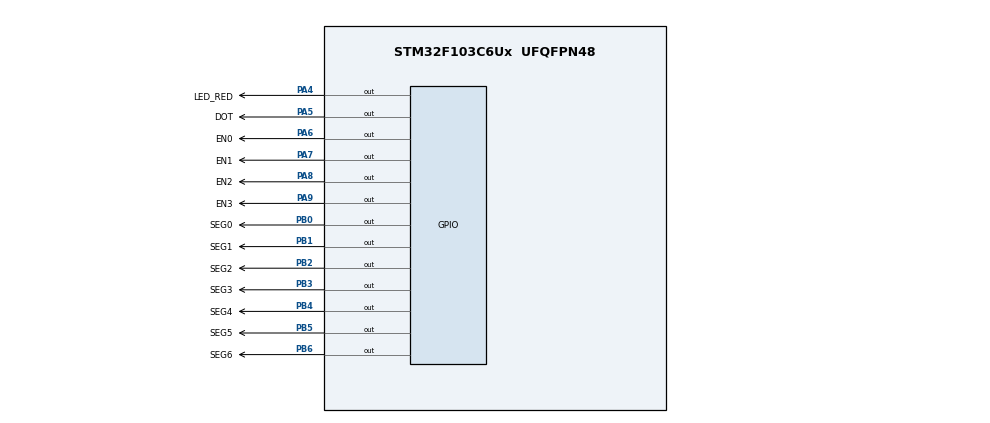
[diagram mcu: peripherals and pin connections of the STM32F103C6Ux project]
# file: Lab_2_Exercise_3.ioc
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Mcu.Family=STM32F1
Mcu.Name=STM32F103C6Ux
Mcu.Package=UFQFPN48
NVIC.PriorityGroup=NVIC_PRIORITYGROUP_4
NVIC.TIM2_IRQn=true\:0\:0\:false\:false\:true\:true\:true
PA4.GPIO_Label=LED_RED
PA4.Signal=GPIO_Output
PA5.GPIO_Label=DOT
PA5.Signal=GPIO_Output
PA6.GPIO_Label=EN0
PA6.Signal=GPIO_Output
PA7.GPIO_Label=EN1
PA7.Signal=GPIO_Output
PA8.GPIO_Label=EN2
PA8.Signal=GPIO_Output
PA9.GPIO_Label=EN3
PA9.Signal=GPIO_Output
PB0.GPIO_Label=SEG0
PB0.Signal=GPIO_Output
PB1.GPIO_Label=SEG1
PB1.Signal=GPIO_Output
PB2.GPIO_Label=SEG2
PB2.Signal=GPIO_Output
PB3.GPIO_Label=SEG3
PB3.Signal=GPIO_Output
PB4.GPIO_Label=SEG4
PB4.Signal=GPIO_Output
PB5.GPIO_Label=SEG5
PB5.Signal=GPIO_Output
PB6.GPIO_Label=SEG6
PB6.Signal=GPIO_Output
ProjectManager.HeapSize=0x200
ProjectManager.StackSize=0x400
ProjectManager.TargetToolchain=STM32CubeIDE
RCC.APB1Freq_Value=8000000
RCC.APB2Freq_Value=8000000
TIM2.Period=9
TIM2.Prescaler=7999
VP_SYS_VS_ND.Mode=No_Debug
VP_TIM2_VS_ClockSourceINT.Mode=Internal
board=custom

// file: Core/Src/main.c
/* USER CODE BEGIN Header */
/**
  ******************************************************************************
  * @file           : main.c
  * @brief          : Main program body
  ******************************************************************************
  * @attention
  *
  * <h2><center>&copy; Copyright (c) 2022 STMicroelectronics.
  * All rights reserved.</center></h2>
  *
  * This software component is licensed by ST under BSD 3-Clause license,
  * the "License"; You may not use this file except in compliance with the
  * License. You may obtain a copy of the License at:
  *                        opensource.org/licenses/BSD-3-Clause
  *
  ******************************************************************************
  */
/* USER CODE END Header */
#include "main.h"

TIM_HandleTypeDef htim2;

/* USER CODE BEGIN PV */
int counter1 = 1;
int counter2 = 1;
const int MAX_LED = 4;
int index_led = 0;
int led_buffer[4] = {1, 2, 3, 4};
/* USER CODE END PV */

void SystemClock_Config(void);
static void MX_GPIO_Init(void);
static void MX_TIM2_Init(void);

int main(void)
{

  /* MCU Configuration--------------------------------------------------------*/

  /* Reset of all peripherals, Initializes the Flash interface and the Systick. */
  HAL_Init();

  /* Configure the system clock */
  SystemClock_Config();

  /* Initialize all configured peripherals */
  MX_GPIO_Init();
  MX_TIM2_Init();
  /* USER CODE BEGIN 2 */
  HAL_TIM_Base_Start_IT(&htim2);
  /* USER CODE END 2 */

  /* Infinite loop */
  while (1)
  {

  }
}

void SystemClock_Config(void)
{
  RCC_OscInitTypeDef RCC_OscInitStruct = {0};
  RCC_ClkInitTypeDef RCC_ClkInitStruct = {0};

  /** Initializes the RCC Oscillators according to the specified parameters
  * in the RCC_OscInitTypeDef structure.
  */
  RCC_OscInitStruct.OscillatorType = RCC_OSCILLATORTYPE_HSI;
  RCC_OscInitStruct.HSIState = RCC_HSI_ON;
  RCC_OscInitStruct.HSICalibrationValue = RCC_HSICALIBRATION_DEFAULT;
  RCC_OscInitStruct.PLL.PLLState = RCC_PLL_NONE;
  if (HAL_RCC_OscConfig(&RCC_OscInitStruct) != HAL_OK)
  {
    Error_Handler();
  }
  /** Initializes the CPU, AHB and APB buses clocks
  */
  RCC_ClkInitStruct.ClockType = RCC_CLOCKTYPE_HCLK|RCC_CLOCKTYPE_SYSCLK
                              |RCC_CLOCKTYPE_PCLK1|RCC_CLOCKTYPE_PCLK2;
  RCC_ClkInitStruct.SYSCLKSource = RCC_SYSCLKSOURCE_HSI;
  RCC_ClkInitStruct.AHBCLKDivider = RCC_SYSCLK_DIV1;
  RCC_ClkInitStruct.APB1CLKDivider = RCC_HCLK_DIV1;
  RCC_ClkInitStruct.APB2CLKDivider = RCC_HCLK_DIV1;

  if (HAL_RCC_ClockConfig(&RCC_ClkInitStruct, FLASH_LATENCY_0) != HAL_OK)
  {
    Error_Handler();
  }
}

static void MX_TIM2_Init(void)
{

  TIM_ClockConfigTypeDef sClockSourceConfig = {0};
  TIM_MasterConfigTypeDef sMasterConfig = {0};

  htim2.Instance = TIM2;
  htim2.Init.Prescaler = 7999;
  htim2.Init.CounterMode = TIM_COUNTERMODE_UP;
  htim2.Init.Period = 9;
  htim2.Init.ClockDivision = TIM_CLOCKDIVISION_DIV1;
  htim2.Init.AutoReloadPreload = TIM_AUTORELOAD_PRELOAD_DISABLE;
  if (HAL_TIM_Base_Init(&htim2) != HAL_OK)
  {
    Error_Handler();
  }
  sClockSourceConfig.ClockSource = TIM_CLOCKSOURCE_INTERNAL;
  if (HAL_TIM_ConfigClockSource(&htim2, &sClockSourceConfig) != HAL_OK)
  {
    Error_Handler();
  }
  sMasterConfig.MasterOutputTrigger = TIM_TRGO_RESET;
  sMasterConfig.MasterSlaveMode = TIM_MASTERSLAVEMODE_DISABLE;
  if (HAL_TIMEx_MasterConfigSynchronization(&htim2, &sMasterConfig) != HAL_OK)
  {
    Error_Handler();
  }

}

static void MX_GPIO_Init(void)
{
  GPIO_InitTypeDef GPIO_InitStruct = {0};

  /* GPIO Ports Clock Enable */
  __HAL_RCC_GPIOA_CLK_ENABLE();
  __HAL_RCC_GPIOB_CLK_ENABLE();

  /*Configure GPIO pin Output Level */
  HAL_GPIO_WritePin(GPIOA, LED_RED_Pin|DOT_Pin|EN0_Pin|EN1_Pin
                          |EN2_Pin|EN3_Pin, GPIO_PIN_RESET);

  /*Configure GPIO pin Output Level */
  HAL_GPIO_WritePin(GPIOB, SEG0_Pin|SEG1_Pin|SEG2_Pin|SEG3_Pin
                          |SEG4_Pin|SEG5_Pin|SEG6_Pin, GPIO_PIN_RESET);

  /*Configure GPIO pins : LED_RED_Pin DOT_Pin EN0_Pin EN1_Pin
                           EN2_Pin EN3_Pin */
  GPIO_InitStruct.Pin = LED_RED_Pin|DOT_Pin|EN0_Pin|EN1_Pin
                          |EN2_Pin|EN3_Pin;
  GPIO_InitStruct.Mode = GPIO_MODE_OUTPUT_PP;
  GPIO_InitStruct.Pull = GPIO_NOPULL;
  GPIO_InitStruct.Speed = GPIO_SPEED_FREQ_LOW;
  HAL_GPIO_Init(GPIOA, &GPIO_InitStruct);

  /*Configure GPIO pins : SEG0_Pin SEG1_Pin SEG2_Pin SEG3_Pin
                           SEG4_Pin SEG5_Pin SEG6_Pin */
  GPIO_InitStruct.Pin = SEG0_Pin|SEG1_Pin|SEG2_Pin|SEG3_Pin
                          |SEG4_Pin|SEG5_Pin|SEG6_Pin;
  GPIO_InitStruct.Mode = GPIO_MODE_OUTPUT_PP;
  GPIO_InitStruct.Pull = GPIO_NOPULL;
  GPIO_InitStruct.Speed = GPIO_SPEED_FREQ_LOW;
  HAL_GPIO_Init(GPIOB, &GPIO_InitStruct);

}

/* USER CODE BEGIN 4 */
void display7SEG(int num){
	switch(num)
		{
		case 0:
			HAL_GPIO_WritePin(SEG0_GPIO_Port, SEG0_Pin, 0);
			HAL_GPIO_WritePin(SEG1_GPIO_Port, SEG1_Pin, 0);
			HAL_GPIO_WritePin(SEG2_GPIO_Port, SEG2_Pin, 0);
			HAL_GPIO_WritePin(SEG3_GPIO_Port, SEG3_Pin, 0);
			HAL_GPIO_WritePin(SEG4_GPIO_Port, SEG4_Pin, 0);
			HAL_GPIO_WritePin(SEG5_GPIO_Port, SEG5_Pin, 0);
			HAL_GPIO_WritePin(SEG6_GPIO_Port, SEG6_Pin, 1);
			break;
		case 1:
			HAL_GPIO_WritePin(SEG0_GPIO_Port, SEG0_Pin, 1);
			HAL_GPIO_WritePin(SEG1_GPIO_Port, SEG1_Pin, 0);
			HAL_GPIO_WritePin(SEG2_GPIO_Port, SEG2_Pin, 0);
			HAL_GPIO_WritePin(SEG3_GPIO_Port, SEG3_Pin, 1);
			HAL_GPIO_WritePin(SEG4_GPIO_Port, SEG4_Pin, 1);
			HAL_GPIO_WritePin(SEG5_GPIO_Port, SEG5_Pin, 1);
			HAL_GPIO_WritePin(SEG6_GPIO_Port, SEG6_Pin, 1);
			break;
		case 2:
			HAL_GPIO_WritePin(SEG0_GPIO_Port, SEG0_Pin, 0);
			HAL_GPIO_WritePin(SEG1_GPIO_Port, SEG1_Pin, 0);
			HAL_GPIO_WritePin(SEG2_GPIO_Port, SEG2_Pin, 1);
			HAL_GPIO_WritePin(SEG3_GPIO_Port, SEG3_Pin, 0);
			HAL_GPIO_WritePin(SEG4_GPIO_Port, SEG4_Pin, 0);
			HAL_GPIO_WritePin(SEG5_GPIO_Port, SEG5_Pin, 1);
			HAL_GPIO_WritePin(SEG6_GPIO_Port, SEG6_Pin, 0);
			break;
		case 3:
			HAL_GPIO_WritePin(SEG0_GPIO_Port, SEG0_Pin, 0);
			HAL_GPIO_WritePin(SEG1_GPIO_Port, SEG1_Pin, 0);
			HAL_GPIO_WritePin(SEG2_GPIO_Port, SEG2_Pin, 0);
			HAL_GPIO_WritePin(SEG3_GPIO_Port, SEG3_Pin, 0);
			HAL_GPIO_WritePin(SEG4_GPIO_Port, SEG4_Pin, 1);
			HAL_GPIO_WritePin(SEG5_GPIO_Port, SEG5_Pin, 1);
			HAL_GPIO_WritePin(SEG6_GPIO_Port, SEG6_Pin, 0);
			break;
		case 4:
			HAL_GPIO_WritePin(SEG0_GPIO_Port, SEG0_Pin, 1);
			HAL_GPIO_WritePin(SEG1_GPIO_Port, SEG1_Pin, 0);
			HAL_GPIO_WritePin(SEG2_GPIO_Port, SEG2_Pin, 0);
			HAL_GPIO_WritePin(SEG3_GPIO_Port, SEG3_Pin, 1);
			HAL_GPIO_WritePin(SEG4_GPIO_Port, SEG4_Pin, 1);
			HAL_GPIO_WritePin(SEG5_GPIO_Port, SEG5_Pin, 0);
			HAL_GPIO_WritePin(SEG6_GPIO_Port, SEG6_Pin, 0);
			break;
		case 5:
			HAL_GPIO_WritePin(SEG0_GPIO_Port, SEG0_Pin, 0);
			HAL_GPIO_WritePin(SEG1_GPIO_Port, SEG1_Pin, 0);
			HAL_GPIO_WritePin(SEG2_GPIO_Port, SEG2_Pin, 1);
			HAL_GPIO_WritePin(SEG3_GPIO_Port, SEG3_Pin, 0);
			HAL_GPIO_WritePin(SEG4_GPIO_Port, SEG4_Pin, 1);
			HAL_GPIO_WritePin(SEG5_GPIO_Port, SEG5_Pin, 0);
			HAL_GPIO_WritePin(SEG6_GPIO_Port, SEG6_Pin, 0);
			break;
		case 6:
			HAL_GPIO_WritePin(SEG0_GPIO_Port, SEG0_Pin, 0);
			HAL_GPIO_WritePin(SEG1_GPIO_Port, SEG1_Pin, 1);
			HAL_GPIO_WritePin(SEG2_GPIO_Port, SEG2_Pin, 0);
			HAL_GPIO_WritePin(SEG3_GPIO_Port, SEG3_Pin, 0);
			HAL_GPIO_WritePin(SEG4_GPIO_Port, SEG4_Pin, 0);
			HAL_GPIO_WritePin(SEG5_GPIO_Port, SEG5_Pin, 0);
			HAL_GPIO_WritePin(SEG6_GPIO_Port, SEG6_Pin, 0);
			break;
		case 7:
			HAL_GPIO_WritePin(SEG0_GPIO_Port, SEG0_Pin, 0);
			HAL_GPIO_WritePin(SEG1_GPIO_Port, SEG1_Pin, 0);
			HAL_GPIO_WritePin(SEG2_GPIO_Port, SEG2_Pin, 0);
			HAL_GPIO_WritePin(SEG3_GPIO_Port, SEG3_Pin, 1);
			HAL_GPIO_WritePin(SEG4_GPIO_Port, SEG4_Pin, 1);
			HAL_GPIO_WritePin(SEG5_GPIO_Port, SEG5_Pin, 1);
			HAL_GPIO_WritePin(SEG6_GPIO_Port, SEG6_Pin, 1);
			break;
		case 8:
			HAL_GPIO_WritePin(SEG0_GPIO_Port, SEG0_Pin, 0);
			HAL_GPIO_WritePin(SEG1_GPIO_Port, SEG1_Pin, 0);
			HAL_GPIO_WritePin(SEG2_GPIO_Port, SEG2_Pin, 0);
			HAL_GPIO_WritePin(SEG3_GPIO_Port, SEG3_Pin, 0);
			HAL_GPIO_WritePin(SEG4_GPIO_Port, SEG4_Pin, 0);
			HAL_GPIO_WritePin(SEG5_GPIO_Port, SEG5_Pin, 0);
			HAL_GPIO_WritePin(SEG6_GPIO_Port, SEG6_Pin, 0);
			break;
		case 9:
			HAL_GPIO_WritePin(SEG0_GPIO_Port, SEG0_Pin, 0);
			HAL_GPIO_WritePin(SEG1_GPIO_Port, SEG1_Pin, 0);
			HAL_GPIO_WritePin(SEG2_GPIO_Port, SEG2_Pin, 0);
			HAL_GPIO_WritePin(SEG3_GPIO_Port, SEG3_Pin, 1);
			HAL_GPIO_WritePin(SEG4_GPIO_Port, SEG4_Pin, 1);
			HAL_GPIO_WritePin(SEG5_GPIO_Port, SEG5_Pin, 0);
			HAL_GPIO_WritePin(SEG6_GPIO_Port, SEG6_Pin, 0);
			break;
		}
}

void HAL_TIM_PeriodElapsedCallback(TIM_HandleTypeDef *htim) {
	counter1--;
	counter2--;
	if (counter1 == 0) {
		counter1 = 50;
		update7SEG(index_led++);
		if (index_led == MAX_LED) index_led = 0;
	}

	if (counter2 == 0) {
		counter2 = 100;
		HAL_GPIO_TogglePin(DOT_GPIO_Port, DOT_Pin);
		HAL_GPIO_TogglePin(LED_RED_GPIO_Port , LED_RED_Pin);
	}
}

void update7SEG ( int index ) {
	HAL_GPIO_WritePin(EN0_GPIO_Port, EN0_Pin, 1);
	HAL_GPIO_WritePin(EN1_GPIO_Port, EN1_Pin, 1);
	HAL_GPIO_WritePin(EN2_GPIO_Port, EN2_Pin, 1);
	HAL_GPIO_WritePin(EN3_GPIO_Port, EN3_Pin, 1);
	display7SEG(led_buffer[index]);
	switch ( index ) {
	case 0:
		// Display the first 7 SEG with led_buffer [0]
		HAL_GPIO_WritePin(EN0_GPIO_Port, EN0_Pin, 0);
		break ;
	case 1:
		// Display the second 7 SEG with led_buffer [1]
		HAL_GPIO_WritePin(EN1_GPIO_Port, EN1_Pin, 0);
		break ;
	case 2:
		// Display the third 7 SEG with led_buffer [2]
		HAL_GPIO_WritePin(EN2_GPIO_Port, EN2_Pin, 0);
		break ;
	case 3:
		// Display the forth 7 SEG with led_buffer [3]
		HAL_GPIO_WritePin(EN3_GPIO_Port, EN3_Pin, 0);
		break ;
	default :
		break ;
	}
}
/* USER CODE END 4 */

void Error_Handler(void)
{
  __disable_irq();
  while (1)
  {
  }
}

/************************ (C) COPYRIGHT STMicroelectronics *****END OF FILE****/
